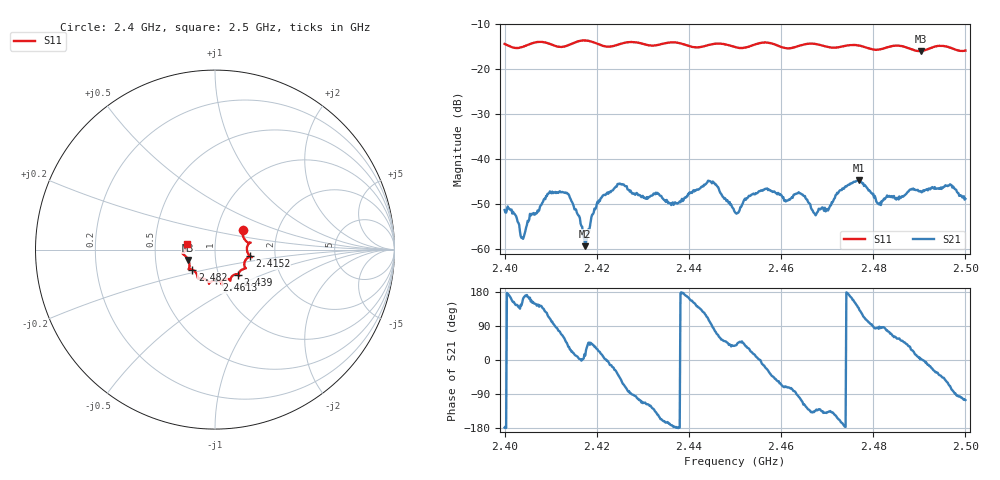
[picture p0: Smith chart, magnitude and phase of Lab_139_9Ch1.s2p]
# Hz S RI R 50
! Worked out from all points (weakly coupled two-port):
!   601 points, 2.4 GHz to 2.5 GHz, reference 50 ohm
!   highest |S21| = -44.63 dB at 2.4768 GHz (marker M1); lowest = -59.4 dB at 2.4175 GHz (marker M2)
!   lowest |S11| = -15.9 dB at 2.4903 GHz (marker M3), VSWR 1.38, Z = 36.8 - j4.38 ohm
!   |S11| at or under -10 dB: start of sweep to end of sweep
!   S12 and S22 are empty: the file has one direction only
!   S11 on the Smith chart (normalised r, x): 2.4 GHz: 1.33, +0.31; 2.4152 GHz: 1.48, -0.11; 2.439 GHz: 1.24, -0.36; 2.4613 GHz: 0.96, -0.34; 2.482 GHz: 0.76, -0.17; 2.5 GHz: 0.73, +0.05
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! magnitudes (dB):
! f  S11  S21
! 2.4 GHz  -14.4  -51.3
! 2.402 GHz  -15.2  -52.1
! 2.4038 GHz  -15.0  -57.5
! 2.4098 GHz  -14.3  -47.2
! 2.4152 GHz  -14.1  -51.2
! 2.4167 GHz  -13.6  -54.9
! 2.4175 GHz  -13.6  -59.4
! 2.4205 GHz  -14.5  -49.1
! 2.4245 GHz  -14.5  -45.5
! 2.4333 GHz  -14.5  -47.7
! 2.439 GHz  -14.5  -48.6
! 2.4447 GHz  -14.5  -44.9
! 2.45 GHz  -15.0  -51.8
! 2.4565 GHz  -14.0  -46.6
! 2.4613 GHz  -15.3  -49.2
! 2.4642 GHz  -14.7  -47.6
! 2.4667 GHz  -14.3  -51.2
! 2.4768 GHz  -14.7  -44.6
! 2.482 GHz  -15.4  -49.3
! 2.4833 GHz  -15.0  -48.2
! 2.4903 GHz  -15.9  -47.1
! 2.5 GHz  -15.8  -48.8
